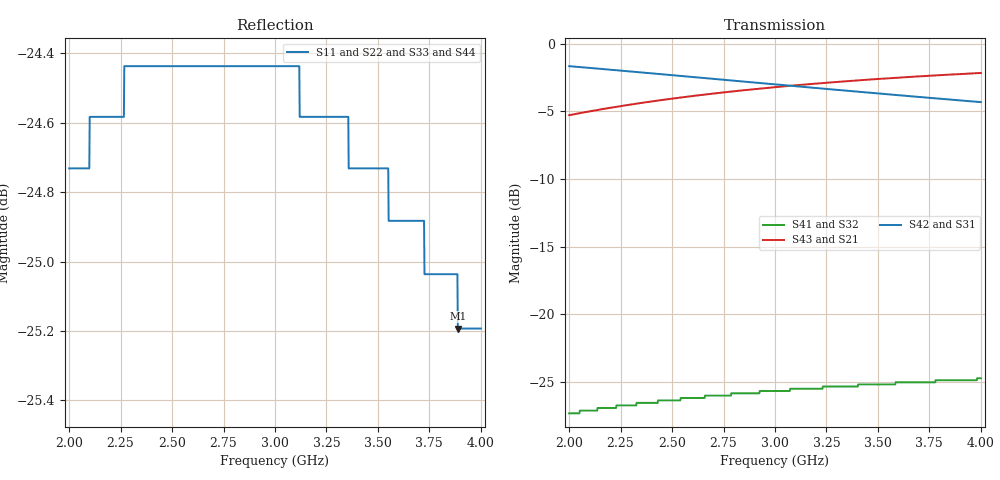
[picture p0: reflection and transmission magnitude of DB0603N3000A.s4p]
!	AVX THIN FILM OPERATION
!	0603 SIZE 3dB 90deg COUPLER P/N DB0603N3000ANTR
!	Created August 2007
!	Network Analyzer HP8720E S.07.64: Feb23, 2000 Serial No.US39172382
#	MHZ	S	MA	R	50
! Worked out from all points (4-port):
!   1001 points, 2 GHz to 4 GHz, reference 50 ohm
!   strongest paths, dB at 2 GHz, 2.5 GHz, 3 GHz, 3.5 GHz, 4 GHz:
!     S42: -1.6, -2.3, -3.0, -3.7, -4.3
!     S31: -1.6, -2.3, -3.0, -3.7, -4.3
!     S43: -5.3, -4.1, -3.2, -2.6, -2.2
!     S21: -5.3, -4.1, -3.2, -2.6, -2.2
!     S41: -27.3, -26.4, -25.7, -25.2, -24.7
!     S32: -27.3, -26.4, -25.7, -25.2, -24.7
!   lowest |S11| = -25.2 dB at 3.888 GHz (marker M1), VSWR 1.12, Z = 55.7 + j1.07 ohm
!   |S11| at or under -10 dB: start of sweep to end of sweep
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2000  0.058 29.3  0.545 55.2  0.827 -34.6  0.043 -171.7
      0.545 55.2  0.058 29.3  0.043 -171.7  0.827 -34.6
      0.827 -34.6  0.043 -171.7  0.058 29.3  0.545 55.2
      0.043 -171.7  0.827 -34.6  0.545 55.2  0.058 29.3
2278  0.06 24.8  0.593 51.6  0.793 -38.2  0.046 179.7
      0.593 51.6  0.06 24.8  0.046 179.7  0.793 -38.2
      0.793 -38.2  0.046 179.7  0.06 24.8  0.593 51.6
      0.046 179.7  0.793 -38.2  0.593 51.6  0.06 24.8
2826  0.06 17.6  0.671 45.4  0.728 -44.4  0.051 164.8
      0.671 45.4  0.06 17.6  0.051 164.8  0.728 -44.4
      0.728 -44.4  0.051 164.8  0.06 17.6  0.671 45.4
      0.051 164.8  0.728 -44.4  0.671 45.4  0.06 17.6
3346  0.059 12.9  0.727 40.4  0.671 -49.3  0.054 152.9
      0.727 40.4  0.059 12.9  0.054 152.9  0.671 -49.3
      0.671 -49.3  0.054 152.9  0.059 12.9  0.727 40.4
      0.054 152.9  0.671 -49.3  0.727 40.4  0.059 12.9
3368  0.058 12.7  0.729 40.2  0.669 -49.5  0.054 152.4
      0.729 40.2  0.058 12.7  0.054 152.4  0.669 -49.5
      0.669 -49.5  0.054 152.4  0.058 12.7  0.729 40.2
      0.054 152.4  0.669 -49.5  0.729 40.2  0.058 12.7
3888  0.055 10.0  0.772 36.0  0.619 -53.7  0.057 142.5
      0.772 36.0  0.055 10.0  0.057 142.5  0.619 -53.7
      0.619 -53.7  0.057 142.5  0.055 10.0  0.772 36.0
      0.057 142.5  0.619 -53.7  0.772 36.0  0.055 10.0
4000  0.055 9.7  0.78 35.2  0.609 -54.6  0.058 140.5
      0.78 35.2  0.055 9.7  0.058 140.5  0.609 -54.6
      0.609 -54.6  0.058 140.5  0.055 9.7  0.78 35.2
      0.058 140.5  0.609 -54.6  0.78 35.2  0.055 9.7
